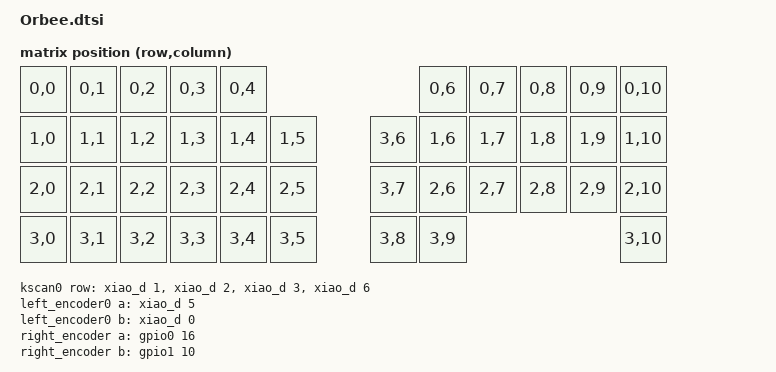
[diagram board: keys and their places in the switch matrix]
#include <dt-bindings/zmk/matrix_transform.h>
#include <physical_layouts.dtsi>

/ {
    chosen {
        zmk,kscan = &kscan0;
        zmk,physical-layout = &physical_layout0;
    };

    default_transform: keymap_transform_0 {
        compatible = "zmk,matrix-transform";
        columns = <11>;
        rows = <4>;               
        map = <
            RC(0,0) RC(0,1) RC(0,2) RC(0,3) RC(0,4)                     RC(0,6) RC(0,7) RC(0,8) RC(0,9) RC(0,10)
            RC(1,0) RC(1,1) RC(1,2) RC(1,3) RC(1,4) RC(1,5)     RC(3,6) RC(1,6) RC(1,7) RC(1,8) RC(1,9) RC(1,10)
            RC(2,0) RC(2,1) RC(2,2) RC(2,3) RC(2,4) RC(2,5)     RC(3,7) RC(2,6) RC(2,7) RC(2,8) RC(2,9) RC(2,10)
            RC(3,0) RC(3,1) RC(3,2) RC(3,3) RC(3,4) RC(3,5)     RC(3,8) RC(3,9)                         RC(3,10)
        >;
    };
    
    kscan0: kscan {
        compatible = "zmk,kscan-gpio-matrix";
        label = "KSCAN";
        diode-direction = "col2row";
            row-gpios
                = <&xiao_d 1 (GPIO_ACTIVE_HIGH | GPIO_PULL_DOWN)> 
                , <&xiao_d 2 (GPIO_ACTIVE_HIGH | GPIO_PULL_DOWN)> 
                , <&xiao_d 3 (GPIO_ACTIVE_HIGH | GPIO_PULL_DOWN)> 
                , <&xiao_d 6 (GPIO_ACTIVE_HIGH | GPIO_PULL_DOWN)> 			
                ;
    };

    left_encoder0: encoder_left0 {
        compatible = "alps,ec11";
        label = "left_encoder0";
        a-gpios = <&xiao_d 5 (GPIO_ACTIVE_HIGH | GPIO_PULL_UP)>;
        b-gpios = <&xiao_d 0 (GPIO_ACTIVE_HIGH | GPIO_PULL_UP)>;
        steps = <12>;
        status = "disabled";
    };

    right_encoder: encoder_right {
        compatible = "alps,ec11";
        label = "right_encoder";
        a-gpios = <&gpio0 16 (GPIO_ACTIVE_HIGH | GPIO_PULL_UP)>;
        b-gpios = <&gpio1 10 (GPIO_ACTIVE_HIGH | GPIO_PULL_UP)>;
        steps = <12>;
        status = "disabled";
    };

    sensors: sensors {
        compatible = "zmk,keymap-sensors";
        sensors = <&left_encoder0 &right_encoder>;
        triggers-per-rotation = <12>;
    };

    physical_layout0: physical_layout_0 {
        compatible = "zmk,physical-layout";
        display-name = "Orbee Layout";
        transform = <&default_transform>;
        kscan = <&kscan0>;
        keys
            /* Row 0: 10 keys (left 5 + right 5) */
            = <&key_physical_attrs 100 100    0  100  0  0  0>  /* RC(0,0)  x=0,  y=1 */
            , <&key_physical_attrs 100 100  100  100  0  0  0>  /* RC(0,1)  x=1,  y=1 */
            , <&key_physical_attrs 100 100  200  100  0  0  0>  /* RC(0,2)  x=2,  y=1 */
            , <&key_physical_attrs 100 100  300  100  0  0  0>  /* RC(0,3)  x=3,  y=1 */
            , <&key_physical_attrs 100 100  400  100  0  0  0>  /* RC(0,4)  x=4,  y=1 */
            , <&key_physical_attrs 100 100  800  100  0  0  0>  /* RC(0,6)  x=8,  y=1 */
            , <&key_physical_attrs 100 100  900  100  0  0  0>  /* RC(0,7)  x=9,  y=1 */
            , <&key_physical_attrs 100 100 1000  100  0  0  0>  /* RC(0,8)  x=10, y=1 */
            , <&key_physical_attrs 100 100 1100  100  0  0  0>  /* RC(0,9)  x=11, y=1 */
            , <&key_physical_attrs 100 100 1200  100  0  0  0>  /* RC(0,10) x=12, y=1 */
            /* Row 1: 12 keys */
            , <&key_physical_attrs 100 100    0  200  0  0  0>  /* RC(1,0)  x=0,  y=2 */
            , <&key_physical_attrs 100 100  100  200  0  0  0>  /* RC(1,1)  x=1,  y=2 */
            , <&key_physical_attrs 100 100  200  200  0  0  0>  /* RC(1,2)  x=2,  y=2 */
            , <&key_physical_attrs 100 100  300  200  0  0  0>  /* RC(1,3)  x=3,  y=2 */
            , <&key_physical_attrs 100 100  400  200  0  0  0>  /* RC(1,4)  x=4,  y=2 */
            , <&key_physical_attrs 100 100  500  200  0  0  0>  /* RC(1,5)  x=5,  y=2 */
            , <&key_physical_attrs 100 100  700  200  0  0  0>  /* RC(3,6)  x=7,  y=2 */
            , <&key_physical_attrs 100 100  800  200  0  0  0>  /* RC(1,6)  x=8,  y=2 */
            , <&key_physical_attrs 100 100  900  200  0  0  0>  /* RC(1,7)  x=9,  y=2 */
            , <&key_physical_attrs 100 100 1000  200  0  0  0>  /* RC(1,8)  x=10, y=2 */
            , <&key_physical_attrs 100 100 1100  200  0  0  0>  /* RC(1,9)  x=11, y=2 */
            , <&key_physical_attrs 100 100 1200  200  0  0  0>  /* RC(1,10) x=12, y=2 */
            /* Row 2: 12 keys */
            , <&key_physical_attrs 100 100    0  300  0  0  0>  /* RC(2,0)  x=0,  y=3 */
            , <&key_physical_attrs 100 100  100  300  0  0  0>  /* RC(2,1)  x=1,  y=3 */
            , <&key_physical_attrs 100 100  200  300  0  0  0>  /* RC(2,2)  x=2,  y=3 */
            , <&key_physical_attrs 100 100  300  300  0  0  0>  /* RC(2,3)  x=3,  y=3 */
            , <&key_physical_attrs 100 100  400  300  0  0  0>  /* RC(2,4)  x=4,  y=3 */
            , <&key_physical_attrs 100 100  500  300  0  0  0>  /* RC(2,5)  x=5,  y=3 */
            , <&key_physical_attrs 100 100  700  300  0  0  0>  /* RC(3,7)  x=7,  y=3 */
            , <&key_physical_attrs 100 100  800  300  0  0  0>  /* RC(2,6)  x=8,  y=3 */
            , <&key_physical_attrs 100 100  900  300  0  0  0>  /* RC(2,7)  x=9,  y=3 */
            , <&key_physical_attrs 100 100 1000  300  0  0  0>  /* RC(2,8)  x=10, y=3 */
            , <&key_physical_attrs 100 100 1100  300  0  0  0>  /* RC(2,9)  x=11, y=3 */
            , <&key_physical_attrs 100 100 1200  300  0  0  0>  /* RC(2,10) x=12, y=3 */
            /* Row 3: 9 keys */
            , <&key_physical_attrs 100 100    0  400  0  0  0>  /* RC(3,0)  x=0,  y=4 */
            , <&key_physical_attrs 100 100  100  400  0  0  0>  /* RC(3,1)  x=1,  y=4 */
            , <&key_physical_attrs 100 100  200  400  0  0  0>  /* RC(3,2)  x=2,  y=4 */
            , <&key_physical_attrs 100 100  300  400  0  0  0>  /* RC(3,3)  x=3,  y=4 */
            , <&key_physical_attrs 100 100  400  400  0  0  0>  /* RC(3,4)  x=4,  y=4 */
            , <&key_physical_attrs 100 100  500  400  0  0  0>  /* RC(3,5)  x=5,  y=4 */
            , <&key_physical_attrs 100 100  700  400  0  0  0>  /* RC(3,8)  x=7,  y=4 */
            , <&key_physical_attrs 100 100  800  400  0  0  0>  /* RC(3,9)  x=8,  y=4 */
            , <&key_physical_attrs 100 100 1200  400  0  0  0>  /* RC(3,10) x=12, y=4 */
            ;
    };
};
